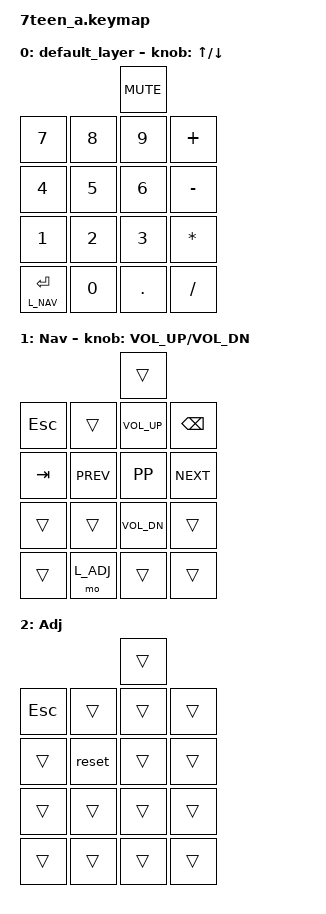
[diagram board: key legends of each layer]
/*
 * Copyright (c) 2020 The ZMK Contributors
 *
 * SPDX-License-Identifier: MIT
 */

#include <behaviors.dtsi>
#include <dt-bindings/zmk/keys.h>

#define L_DEF 0
#define L_NAV 1
#define L_ADJ 2

/ {
    keymap {
        compatible = "zmk,keymap";

        default_layer {
            bindings = <
                      &kp K_MUTE
    &kp N7  &kp N8  &kp N9  &kp PLUS
    &kp N4  &kp N5  &kp N6 &kp MINUS
    &kp N1  &kp N2  &kp N3 &kp ASTRK
    &lt L_NAV ENTER &kp N0  &kp DOT &kp SLASH
            >;

sensor-bindings = <&inc_dec_kp UP DOWN>;
        };

        nav_layer {
            label = "Nav";
            bindings = <
                        &trans
    &kp ESC  &trans     &kp K_VOL_UP &kp BSPC
    &kp TAB  &kp K_PREV &kp K_PP     &kp K_NEXT
    &trans   &trans     &kp K_VOL_DN &trans
    &trans   &mo L_ADJ  &trans       &trans
            >;
sensor-bindings = <&inc_dec_kp C_VOL_UP C_VOL_DN>;
        };

        adj_layer {
            label = "Adj";
            bindings = <
                    &trans
    &kp ESC &trans  &trans  &trans
    &trans  &reset  &trans  &trans
    &trans  &trans  &trans  &trans
    &trans  &trans  &trans  &trans
            >;
        };
    };
};
